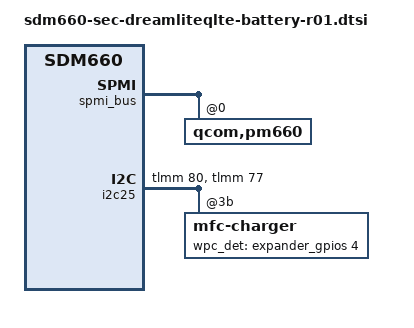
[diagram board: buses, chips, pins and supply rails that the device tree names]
/* Copyright (c) 2014, The Linux Foundation. All rights reserved.
 *
 * This program is free software; you can redistribute it and/or modify
 * it under the terms of the GNU General Public License version 2 and
 * only version 2 as published by the Free Software Foundation.
 *
 * This program is distributed in the hope that it will be useful,
 * but WITHOUT ANY WARRANTY; without even the implied warranty of
 * MERCHANTABILITY or FITNESS FOR A PARTICULAR PURPOSE.  See the
 * GNU General Public License for more details.
 */
#include "sdm660-sec-dreamliteqlte-battery-common.dtsi"
&spmi_bus {
	qcom,pm660@0 {
		pm660_vadc: vadc@3100 {
			chan@57 { /* GPIO_9 */
				label = "wpc_therm1";
				reg = <0x57>;
				qcom,decimation = <0>;
				qcom,pre-div-channel-scaling = <0>;
				qcom,calibration-type = "ratiometric";
				qcom,scale-function = <2>;
				qcom,hw-settle-time = <2>;
				qcom,fast-avg-setup = <0>;
			};
		};
	};
};

&soc {
	i2c25: i2c@25 {
		gpios = <&tlmm 80 0	/* MFC_SDA_1P8 */
			 &tlmm 77 0	/* MFC_SCL_1P8 */
		>;

		mfc-charger@3b {
			pinctrl-0 = <&mfc_irq_active>;
			battery,wpc_det = <&expander_gpios 4 0>; /* WPC_DET */
		};
	};

	battery {
		battery,wpc_det = <&expander_gpios 4 0>; /* WPC_DET */
		battery,temp_adc_channel = <0x57>; /* VADC_AMUX6_GPIO_PU2 */
	};
	sm5720-fuelgauge {
		/delete-property/ fuelgauge,jig_gpio;
	};
};

